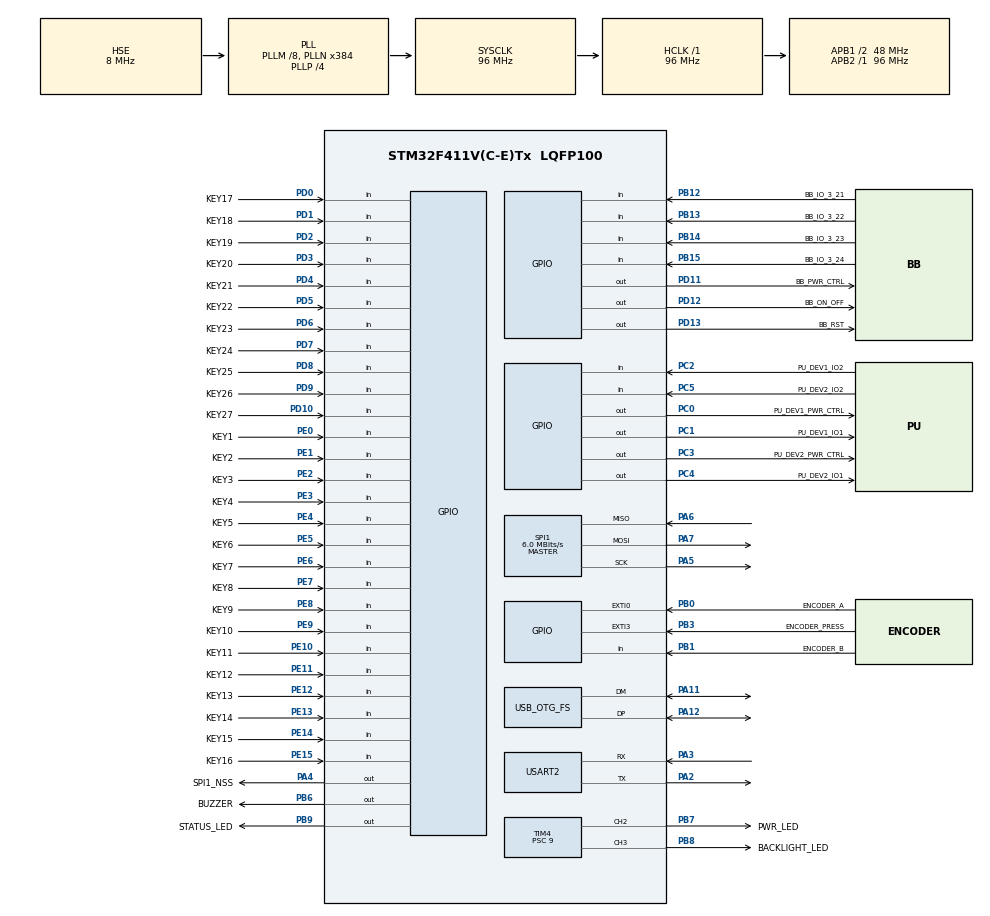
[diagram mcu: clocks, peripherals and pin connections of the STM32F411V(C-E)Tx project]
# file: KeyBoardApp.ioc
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Dma.Request0=USART2_RX
Dma.USART2_RX.0.Direction=DMA_PERIPH_TO_MEMORY
Dma.USART2_RX.0.FIFOMode=DMA_FIFOMODE_DISABLE
Dma.USART2_RX.0.Instance=DMA1_Stream5
Dma.USART2_RX.0.MemDataAlignment=DMA_MDATAALIGN_BYTE
Dma.USART2_RX.0.MemInc=DMA_MINC_ENABLE
Dma.USART2_RX.0.Mode=DMA_CIRCULAR
Dma.USART2_RX.0.PeriphDataAlignment=DMA_PDATAALIGN_BYTE
Dma.USART2_RX.0.PeriphInc=DMA_PINC_DISABLE
Dma.USART2_RX.0.Priority=DMA_PRIORITY_LOW
Mcu.Family=STM32F4
Mcu.Name=STM32F411V(C-E)Tx
Mcu.Package=LQFP100
NVIC.DMA1_Stream5_IRQn=true\:0\:0\:false\:false\:true\:false\:true
NVIC.EXTI0_IRQn=true\:0\:0\:false\:false\:true\:true\:true
NVIC.EXTI3_IRQn=true\:0\:0\:false\:false\:true\:true\:true
NVIC.OTG_FS_IRQn=true\:0\:0\:false\:false\:true\:false\:true
NVIC.PriorityGroup=NVIC_PRIORITYGROUP_4
PA11.Mode=Device_Only
PA11.Signal=USB_OTG_FS_DM
PA12.Mode=Device_Only
PA12.Signal=USB_OTG_FS_DP
PA13.Mode=Serial_Wire
PA13.Signal=SYS_JTMS-SWDIO
PA14.Mode=Serial_Wire
PA14.Signal=SYS_JTCK-SWCLK
PA2.Mode=Asynchronous
PA2.Signal=USART2_TX
PA3.Mode=Asynchronous
PA3.Signal=USART2_RX
PA4.GPIO_Label=SPI1_NSS
PA4.Signal=GPIO_Output
PA5.Mode=Full_Duplex_Master
PA5.Signal=SPI1_SCK
PA6.Mode=Full_Duplex_Master
PA6.Signal=SPI1_MISO
PA7.Mode=Full_Duplex_Master
PA7.Signal=SPI1_MOSI
PB0.GPIO_Label=ENCODER_A
PB0.Signal=GPXTI0
PB1.GPIO_Label=ENCODER_B
PB1.Signal=GPIO_Input
PB12.GPIO_Label=BB_IO_3_21
PB12.Signal=GPIO_Input
PB13.GPIO_Label=BB_IO_3_22
PB13.Signal=GPIO_Input
PB14.GPIO_Label=BB_IO_3_23
PB14.Signal=GPIO_Input
PB15.GPIO_Label=BB_IO_3_24
PB15.Signal=GPIO_Input
PB3.GPIO_Label=ENCODER_PRESS
PB3.GPIO_ModeDefaultEXTI=GPIO_MODE_IT_RISING_FALLING
PB3.Signal=GPXTI3
PB6.GPIO_Label=BUZZER
PB6.Signal=GPIO_Output
PB7.GPIO_Label=PWR_LED
PB7.Signal=S_TIM4_CH2
PB8.GPIO_Label=BACKLIGHT_LED
PB8.Signal=S_TIM4_CH3
PB9.GPIO_Label=STATUS_LED
PB9.Signal=GPIO_Output
PC0.GPIO_Label=PU_DEV1_PWR_CTRL
PC0.Signal=GPIO_Output
PC1.GPIO_Label=PU_DEV1_IO1
PC1.Signal=GPIO_Output
PC14-OSC32_IN.Mode=LSE-External-Oscillator
PC14-OSC32_IN.Signal=RCC_OSC32_IN
PC15-OSC32_OUT.Mode=LSE-External-Oscillator
PC15-OSC32_OUT.Signal=RCC_OSC32_OUT
PC2.GPIO_Label=PU_DEV1_IO2
PC2.Signal=GPIO_Input
PC3.GPIO_Label=PU_DEV2_PWR_CTRL
PC3.Signal=GPIO_Output
PC4.GPIO_Label=PU_DEV2_IO1
PC4.Signal=GPIO_Output
PC5.GPIO_Label=PU_DEV2_IO2
PC5.Signal=GPIO_Input
PD0.GPIO_Label=KEY17
PD0.Signal=GPIO_Input
PD1.GPIO_Label=KEY18
PD1.Signal=GPIO_Input
PD10.GPIO_Label=KEY27
PD10.Signal=GPIO_Input
PD11.GPIO_Label=BB_PWR_CTRL
PD11.Signal=GPIO_Output
PD12.GPIO_Label=BB_ON_OFF
PD12.Signal=GPIO_Output
PD13.GPIO_Label=BB_RST
PD13.Signal=GPIO_Output
PD2.GPIO_Label=KEY19
PD2.Signal=GPIO_Input
PD3.GPIO_Label=KEY20
PD3.Signal=GPIO_Input
PD4.GPIO_Label=KEY21
PD4.Signal=GPIO_Input
PD5.GPIO_Label=KEY22
PD5.Signal=GPIO_Input
PD6.GPIO_Label=KEY23
PD6.Signal=GPIO_Input
PD7.GPIO_Label=KEY24
PD7.Signal=GPIO_Input
PD8.GPIO_Label=KEY25
PD8.Signal=GPIO_Input
PD9.GPIO_Label=KEY26
PD9.Signal=GPIO_Input
PE0.GPIO_Label=KEY1
PE0.Signal=GPIO_Input
PE1.GPIO_Label=KEY2
PE1.Signal=GPIO_Input
PE10.GPIO_Label=KEY11
PE10.Signal=GPIO_Input
PE11.GPIO_Label=KEY12
PE11.Signal=GPIO_Input
PE12.GPIO_Label=KEY13
PE12.Signal=GPIO_Input
PE13.GPIO_Label=KEY14
PE13.Signal=GPIO_Input
PE14.GPIO_Label=KEY15
PE14.Signal=GPIO_Input
PE15.GPIO_Label=KEY16
PE15.Signal=GPIO_Input
PE2.GPIO_Label=KEY3
PE2.Signal=GPIO_Input
PE3.GPIO_Label=KEY4
PE3.Signal=GPIO_Input
PE4.GPIO_Label=KEY5
PE4.Signal=GPIO_Input
PE5.GPIO_Label=KEY6
PE5.Signal=GPIO_Input
PE6.GPIO_Label=KEY7
PE6.Signal=GPIO_Input
PE7.GPIO_Label=KEY8
PE7.Signal=GPIO_Input
PE8.GPIO_Label=KEY9
PE8.Signal=GPIO_Input
PE9.GPIO_Label=KEY10
PE9.Signal=GPIO_Input
PH0\ -\ OSC_IN.Mode=HSE-External-Oscillator
PH0\ -\ OSC_IN.Signal=RCC_OSC_IN
PH1\ -\ OSC_OUT.Mode=HSE-External-Oscillator
PH1\ -\ OSC_OUT.Signal=RCC_OSC_OUT
ProjectManager.HeapSize=0x200
ProjectManager.StackSize=0x400
ProjectManager.TargetToolchain=SW4STM32
RCC.48MHZClocksFreq_Value=48000000
RCC.AHBFreq_Value=96000000
RCC.APB1CLKDivider=RCC_HCLK_DIV2
RCC.APB1Freq_Value=48000000
RCC.APB1TimFreq_Value=96000000
RCC.APB2Freq_Value=96000000
RCC.APB2TimFreq_Value=96000000
RCC.CortexFreq_Value=96000000
RCC.HCLKFreq_Value=96000000
RCC.HSE_VALUE=8000000
RCC.HSI_VALUE=16000000
RCC.PLLM=8
RCC.PLLN=384
RCC.PLLP=RCC_PLLP_DIV4
RCC.PLLQ=8
RCC.SYSCLKFreq_VALUE=96000000
RCC.SYSCLKSource=RCC_SYSCLKSOURCE_PLLCLK
RCC.VCOOutputFreq_Value=384000000
SH.S_TIM4_CH2.0=TIM4_CH2,PWM Generation2 CH2
SH.S_TIM4_CH3.0=TIM4_CH3,PWM Generation3 CH3
SPI1.BaudRatePrescaler=SPI_BAUDRATEPRESCALER_16
SPI1.CalculateBaudRate=6.0 MBits/s
SPI1.Direction=SPI_DIRECTION_2LINES
SPI1.Mode=SPI_MODE_MASTER
SPI1.VirtualType=VM_MASTER
TIM4.AutoReloadPreload=TIM_AUTORELOAD_PRELOAD_ENABLE
TIM4.Channel-PWM\ Generation2\ CH2=TIM_CHANNEL_2
TIM4.Channel-PWM\ Generation3\ CH3=TIM_CHANNEL_3
TIM4.Period=1000
TIM4.Prescaler=9
USART2.VirtualMode=VM_ASYNC
USB_DEVICE.CLASS_NAME_FS=HID
USB_DEVICE.MANUFACTURER_STRING=Hunami
USB_DEVICE.PRODUCT_STRING_HID_FS=Hunami 10Inch KB
USB_DEVICE.VirtualMode=Hid
USB_DEVICE.VirtualModeFS=Hid_FS
USB_OTG_FS.VirtualMode=Device_Only
VP_TIM4_VS_ClockSourceINT.Mode=Internal
VP_USB_DEVICE_VS_USB_DEVICE_HID_FS.Mode=HID_FS
board=custom

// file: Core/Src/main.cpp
/* USER CODE BEGIN Header */
/**
 ******************************************************************************
 * @file           : main.c
 * @brief          : Main program body
 ******************************************************************************
 * @attention
 *
 * <h2><center>&copy; Copyright (c) 2021 STMicroelectronics.
 * All rights reserved.</center></h2>
 *
 * This software component is licensed by ST under Ultimate Liberty license
 * SLA0044, the "License"; You may not use this file except in compliance with
 * the License. You may obtain a copy of the License at:
 *                             www.st.com/SLA0044
 *
 ******************************************************************************
 */
/* USER CODE END Header */
#include "main.h"
#include "dma.h"
#include "spi.h"
#include "tim.h"
#include "usart.h"
#include "usb_device.h"
#include "gpio.h"

/* USER CODE BEGIN Includes */
#include "UsbKeyboard.h"
#include "ButtonPoller.h"
#include "MkdPowerController.h"
#include "VariableContrastLed.h"
#include "PowerStateMonitor.h"
#include "LedAndBuzzerManager.h"
#include "CommandListener.h"
/* USER CODE END Includes */

/* USER CODE BEGIN PV */
extern USBD_HandleTypeDef hUsbDeviceFS;
extern TIM_HandleTypeDef htim4;
/* USER CODE END PV */

void SystemClock_Config(void);

int main(void)
{

	/* MCU Configuration--------------------------------------------------------*/

	/* Reset of all peripherals, Initializes the Flash interface and the Systick. */
	HAL_Init();

	/* Configure the system clock */
	SystemClock_Config();

	/* Initialize all configured peripherals */
	MX_GPIO_Init();
	MX_DMA_Init();
	MX_SPI1_Init();
	MX_TIM4_Init();
	MX_USART2_UART_Init();
	MX_USB_DEVICE_Init();
	/* USER CODE BEGIN 2 */
	ButtonPoller buttonPoller;
	keyboard.init(&hUsbDeviceFS);

	/* Base Board power Controller*/
	GpioHandler mkdPwrCtrlPin(BB_PWR_CTRL_GPIO_Port, BB_PWR_CTRL_Pin);
	GpioHandler mkdResetPin(BB_RST_GPIO_Port, BB_RST_Pin);
	GpioHandler mkdOnOffPin(BB_ON_OFF_GPIO_Port, BB_ON_OFF_Pin);
	VariableContrastLed pwrLed(&htim4, TIM_CHANNEL_2);
	MkdPowerController mkdpwrCtrl(&mkdPwrCtrlPin, &mkdResetPin, &mkdOnOffPin, &pwrLed);
	PowerStateMonitor pwrStateMonitor;
	pwrStateMonitor.addObserver(mkdpwrCtrl);
	keyboard.addObserver(mkdpwrCtrl);

	CommandListener cmdlistener;
	cmdlistener.init();
	/* USER CODE END 2 */

	/* Infinite loop */
	/* USER CODE BEGIN WHILE */
	buzzerManager.pulse(LedAndBuzzerManager::BUZZER, 100);
	uint32_t startTime = HAL_GetTick();
	while (1)
	{
		if(HAL_GetTick() - startTime > 1000){
			startTime = HAL_GetTick();
		}
		/* USER CODE END WHILE */

		/* USER CODE BEGIN 3 */
		keyboard.run();
		buttonPoller.run();
		mkdpwrCtrl.run();
		pwrStateMonitor.run();
		buzzerManager.run();
		cmdlistener.run();
	}
	/* USER CODE END 3 */
}

void SystemClock_Config(void)
{
	RCC_OscInitTypeDef RCC_OscInitStruct = {0};
	RCC_ClkInitTypeDef RCC_ClkInitStruct = {0};

	/** Configure the main internal regulator output voltage
	 */
	__HAL_RCC_PWR_CLK_ENABLE();
	__HAL_PWR_VOLTAGESCALING_CONFIG(PWR_REGULATOR_VOLTAGE_SCALE1);
	/** Initializes the RCC Oscillators according to the specified parameters
	 * in the RCC_OscInitTypeDef structure.
	 */
	RCC_OscInitStruct.OscillatorType = RCC_OSCILLATORTYPE_HSE;
	RCC_OscInitStruct.HSEState = RCC_HSE_ON;
	RCC_OscInitStruct.PLL.PLLState = RCC_PLL_ON;
	RCC_OscInitStruct.PLL.PLLSource = RCC_PLLSOURCE_HSE;
	RCC_OscInitStruct.PLL.PLLM = 8;
	RCC_OscInitStruct.PLL.PLLN = 384;
	RCC_OscInitStruct.PLL.PLLP = RCC_PLLP_DIV4;
	RCC_OscInitStruct.PLL.PLLQ = 8;
	if (HAL_RCC_OscConfig(&RCC_OscInitStruct) != HAL_OK)
	{
		Error_Handler();
	}
	/** Initializes the CPU, AHB and APB buses clocks
	 */
	RCC_ClkInitStruct.ClockType = RCC_CLOCKTYPE_HCLK|RCC_CLOCKTYPE_SYSCLK
			|RCC_CLOCKTYPE_PCLK1|RCC_CLOCKTYPE_PCLK2;
	RCC_ClkInitStruct.SYSCLKSource = RCC_SYSCLKSOURCE_PLLCLK;
	RCC_ClkInitStruct.AHBCLKDivider = RCC_SYSCLK_DIV1;
	RCC_ClkInitStruct.APB1CLKDivider = RCC_HCLK_DIV2;
	RCC_ClkInitStruct.APB2CLKDivider = RCC_HCLK_DIV1;

	if (HAL_RCC_ClockConfig(&RCC_ClkInitStruct, FLASH_LATENCY_3) != HAL_OK)
	{
		Error_Handler();
	}
}

/* USER CODE BEGIN 4 */
extern "C"{
void HAL_GPIO_EXTI_Callback(uint16_t GPIO_Pin){
	if(GPIO_Pin == ENCODER_A_Pin){
		if(HAL_GPIO_ReadPin(ENCODER_B_GPIO_Port, ENCODER_B_Pin) == GPIO_PIN_RESET){ //turn CW
			keyboard.handleKeyEvent(Key_Encoder_CW, KEY_PRESSED);
			keyboard.handleKeyEvent(Key_Encoder_CW, KEY_RELEASED);
		}else{//turn CCW
			keyboard.handleKeyEvent(Key_Encoder_CCW, KEY_PRESSED);
			keyboard.handleKeyEvent(Key_Encoder_CCW, KEY_RELEASED);
		}
	}
	if(GPIO_Pin == ENCODER_PRESS_Pin){
		if(HAL_GPIO_ReadPin(ENCODER_PRESS_GPIO_Port, GPIO_Pin) == GPIO_PIN_RESET){// falling edge
			keyboard.handleKeyEvent(Key_Encoder_Press, KEY_PRESSED);
		}else{ //rising edge
			keyboard.handleKeyEvent(Key_Encoder_Press, KEY_RELEASED);
		}
	}
}
}
/* USER CODE END 4 */

void Error_Handler(void)
{
}

/************************ (C) COPYRIGHT STMicroelectronics *****END OF FILE****/
